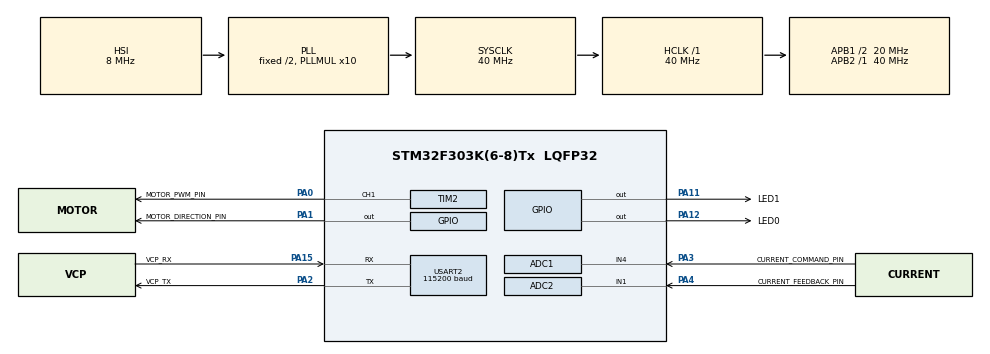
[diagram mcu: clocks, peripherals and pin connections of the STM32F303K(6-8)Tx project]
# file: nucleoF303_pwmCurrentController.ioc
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ADC1.Channel-0\#ChannelRegularConversion=ADC_CHANNEL_4
ADC1.ClockPrescaler=ADC_CLOCK_ASYNC_DIV1
ADC1.ContinuousConvMode=ENABLE
ADC1.DMAContinuousRequests=ENABLE
ADC1.DataAlign=ADC_DATAALIGN_RIGHT
ADC1.DiscontinuousConvMode=DISABLE
ADC1.EOCSelection=ADC_EOC_SINGLE_CONV
ADC1.EnableAnalogWatchDog1=false
ADC1.EnableAnalogWatchDog2=false
ADC1.EnableAnalogWatchDog3=false
ADC1.EnableInjectedConversion=ENABLE
ADC1.EnableRegularConversion=ENABLE
ADC1.ExternalTrigConv=ADC_SOFTWARE_START
ADC1.ExternalTrigConvEdge=ADC_EXTERNALTRIGCONVEDGE_NONE
ADC1.InjNumberOfConversion=0
ADC1.LowPowerAutoWait=DISABLE
ADC1.NbrOfConversion=1
ADC1.NbrOfConversionFlag=1
ADC1.Offset-0\#ChannelRegularConversion=0
ADC1.OffsetNumber-0\#ChannelRegularConversion=ADC_OFFSET_NONE
ADC1.Overrun=ADC_OVR_DATA_OVERWRITTEN
ADC1.Rank-0\#ChannelRegularConversion=1
ADC1.Resolution=ADC_RESOLUTION_12B
ADC1.SamplingTime-0\#ChannelRegularConversion=ADC_SAMPLETIME_1CYCLE_5
ADC1.ScanConvMode=ADC_SCAN_DISABLE
ADC1.SubFamily=STM32F303x8
ADC1.master=1
ADC2.Channel-0\#ChannelRegularConversion=ADC_CHANNEL_1
ADC2.ContinuousConvMode=ENABLE
ADC2.DMAContinuousRequests=ENABLE
ADC2.NbrOfConversion=1
ADC2.NbrOfConversionFlag=1
ADC2.Offset-0\#ChannelRegularConversion=0
ADC2.OffsetNumber-0\#ChannelRegularConversion=ADC_OFFSET_NONE
ADC2.Rank-0\#ChannelRegularConversion=1
ADC2.SamplingTime-0\#ChannelRegularConversion=ADC_SAMPLETIME_1CYCLE_5
ADC2.SubFamily=STM32F303x8
Dma.ADC1.1.Direction=DMA_PERIPH_TO_MEMORY
Dma.ADC1.1.Instance=DMA1_Channel1
Dma.ADC1.1.MemDataAlignment=DMA_MDATAALIGN_HALFWORD
Dma.ADC1.1.MemInc=DMA_MINC_ENABLE
Dma.ADC1.1.Mode=DMA_NORMAL
Dma.ADC1.1.PeriphDataAlignment=DMA_PDATAALIGN_HALFWORD
Dma.ADC1.1.PeriphInc=DMA_PINC_DISABLE
Dma.ADC1.1.Priority=DMA_PRIORITY_LOW
Dma.ADC2.0.Direction=DMA_PERIPH_TO_MEMORY
Dma.ADC2.0.Instance=DMA1_Channel2
Dma.ADC2.0.MemDataAlignment=DMA_MDATAALIGN_HALFWORD
Dma.ADC2.0.MemInc=DMA_MINC_ENABLE
Dma.ADC2.0.Mode=DMA_NORMAL
Dma.ADC2.0.PeriphDataAlignment=DMA_PDATAALIGN_HALFWORD
Dma.ADC2.0.PeriphInc=DMA_PINC_DISABLE
Dma.ADC2.0.Priority=DMA_PRIORITY_VERY_HIGH
Dma.Request0=ADC2
Dma.Request1=ADC1
Dma.Request2=USART2_RX
Dma.USART2_RX.2.Direction=DMA_PERIPH_TO_MEMORY
Dma.USART2_RX.2.Instance=DMA1_Channel6
Dma.USART2_RX.2.MemDataAlignment=DMA_MDATAALIGN_BYTE
Dma.USART2_RX.2.MemInc=DMA_MINC_ENABLE
Dma.USART2_RX.2.Mode=DMA_NORMAL
Dma.USART2_RX.2.PeriphDataAlignment=DMA_PDATAALIGN_BYTE
Dma.USART2_RX.2.PeriphInc=DMA_PINC_DISABLE
Dma.USART2_RX.2.Priority=DMA_PRIORITY_LOW
Mcu.Family=STM32F3
Mcu.Name=STM32F303K(6-8)Tx
Mcu.Package=LQFP32
NVIC.DMA1_Channel1_IRQn=true\:0\:0\:false\:false\:true\:false
NVIC.DMA1_Channel2_IRQn=true\:0\:0\:false\:false\:true\:false
NVIC.DMA1_Channel6_IRQn=true\:0\:0\:false\:false\:true\:false
NVIC.PriorityGroup=NVIC_PRIORITYGROUP_4
NVIC.USART2_IRQn=true\:0\:0\:false\:false\:true\:true
PA0.GPIO_Label=MOTOR_PWM_PIN
PA0.GPIO_Speed=GPIO_SPEED_FREQ_HIGH
PA0.Signal=S_TIM2_CH1_ETR
PA1.GPIO_Label=MOTOR_DIRECTION_PIN
PA1.Signal=GPIO_Output
PA11.GPIO_Label=LED1
PA11.GPIO_PuPd=GPIO_PULLUP
PA11.GPIO_Speed=GPIO_SPEED_FREQ_MEDIUM
PA11.PinState=GPIO_PIN_SET
PA11.Signal=GPIO_Output
PA12.GPIO_Label=LED0
PA12.GPIO_PuPd=GPIO_PULLUP
PA12.GPIO_Speed=GPIO_SPEED_FREQ_MEDIUM
PA12.PinState=GPIO_PIN_SET
PA12.Signal=GPIO_Output
PA13.GPIO_Label=SWDIO
PA13.Mode=Serial_Wire
PA13.Signal=SYS_JTMS-SWDIO
PA14.GPIO_Label=SWCLK
PA14.Mode=Serial_Wire
PA14.Signal=SYS_JTCK-SWCLK
PA15.GPIO_Label=VCP_RX
PA15.Mode=Asynchronous
PA15.Signal=USART2_RX
PA2.GPIO_Label=VCP_TX
PA2.Mode=Asynchronous
PA2.Signal=USART2_TX
PA3.GPIO_Label=CURRENT_COMMAND_PIN
PA3.Mode=IN4-Single-Ended
PA3.Signal=ADC1_IN4
PA4.GPIO_Label=CURRENT_FEEDBACK_PIN
PA4.Mode=IN1-Single-Ended
PA4.Signal=ADC2_IN1
PF0\ /\ OSC_IN.GPIO_Label=MCO
PF0\ /\ OSC_IN.Mode=HSE-External-Clock-Source
PF0\ /\ OSC_IN.Signal=RCC_OSC_IN
ProjectManager.HeapSize=0x200
ProjectManager.StackSize=0x400
ProjectManager.TargetToolchain=TrueSTUDIO
RCC.AHBFreq_Value=40000000
RCC.APB1CLKDivider=RCC_HCLK_DIV2
RCC.APB1Freq_Value=20000000
RCC.APB1TimFreq_Value=40000000
RCC.APB2Freq_Value=40000000
RCC.APB2TimFreq_Value=40000000
RCC.CortexFreq_Value=40000000
RCC.HCLKFreq_Value=40000000
RCC.HSE_VALUE=8000000
RCC.HSI_VALUE=8000000
RCC.I2c1ClockSelection=RCC_I2C1CLKSOURCE_SYSCLK
RCC.PLLMUL=RCC_PLL_MUL10
RCC.SYSCLKFreq_VALUE=40000000
RCC.SYSCLKSourceVirtual=RCC_SYSCLKSOURCE_PLLCLK
SH.S_TIM2_CH1_ETR.0=TIM2_CH1,PWM Generation1 CH1
TIM2.Channel-PWM\ Generation1\ CH1=TIM_CHANNEL_1
TIM2.Period=1000
TIM2.Prescaler=4
USART2.BaudRate=115200
USART2.Mode=MODE_TX_RX
USART2.VirtualMode-Asynchronous=VM_ASYNC
board=NUCLEO-F303K8

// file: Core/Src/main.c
/**
  ******************************************************************************
  * @file           : main.c
  * @brief          : Main program body
  ******************************************************************************
  ** This notice applies to any and all portions of this file
  * that are not between comment pairs USER CODE BEGIN and
  * USER CODE END. Other portions of this file, whether
  * inserted by the user or by software development tools
  * are owned by their respective copyright owners.
  *
  * COPYRIGHT(c) 2019 STMicroelectronics
  *
  * Redistribution and use in source and binary forms, with or without modification,
  * are permitted provided that the following conditions are met:
  *   1. Redistributions of source code must retain the above copyright notice,
  *      this list of conditions and the following disclaimer.
  *   2. Redistributions in binary form must reproduce the above copyright notice,
  *      this list of conditions and the following disclaimer in the documentation
  *      and/or other materials provided with the distribution.
  *   3. Neither the name of STMicroelectronics nor the names of its contributors
  *      may be used to endorse or promote products derived from this software
  *      without specific prior written permission.
  *
  * THIS SOFTWARE IS PROVIDED BY THE COPYRIGHT HOLDERS AND CONTRIBUTORS "AS IS"
  * AND ANY EXPRESS OR IMPLIED WARRANTIES, INCLUDING, BUT NOT LIMITED TO, THE
  * IMPLIED WARRANTIES OF MERCHANTABILITY AND FITNESS FOR A PARTICULAR PURPOSE ARE
  * DISCLAIMED. IN NO EVENT SHALL THE COPYRIGHT HOLDER OR CONTRIBUTORS BE LIABLE
  * FOR ANY DIRECT, INDIRECT, INCIDENTAL, SPECIAL, EXEMPLARY, OR CONSEQUENTIAL
  * DAMAGES (INCLUDING, BUT NOT LIMITED TO, PROCUREMENT OF SUBSTITUTE GOODS OR
  * SERVICES; LOSS OF USE, DATA, OR PROFITS; OR BUSINESS INTERRUPTION) HOWEVER
  * CAUSED AND ON ANY THEORY OF LIABILITY, WHETHER IN CONTRACT, STRICT LIABILITY,
  * OR TORT (INCLUDING NEGLIGENCE OR OTHERWISE) ARISING IN ANY WAY OUT OF THE USE
  * OF THIS SOFTWARE, EVEN IF ADVISED OF THE POSSIBILITY OF SUCH DAMAGE.
  *
  ******************************************************************************
  */
#include "main.h"
#include "stm32f3xx_hal.h"
#include "adc.h"
#include "dma.h"
#include "tim.h"
#include "usart.h"
#include "gpio.h"

/* USER CODE BEGIN Includes */
#include <stdio.h>
#include <stdarg.h>
#include <string.h>
/* USER CODE END Includes */

/* USER CODE BEGIN PV */
/* Private variables ---------------------------------------------------------*/

/* USER CODE END PV */

void SystemClock_Config(void);

/* USER CODE BEGIN PFP */
/* Private function prototypes -----------------------------------------------*/
void vprint(const char *fmt, va_list argp)
{
    char string[200];
    if(0 < vsprintf(string,fmt,argp)) // build string
    {
        HAL_UART_Transmit(&huart2, (uint8_t*)string, strlen(string), 0xffffff); // send message via UART
    }
}

void my_printf(const char *fmt, ...) // custom printf() function
{
    va_list argp;
    va_start(argp, fmt);
    vprint(fmt, argp);
    va_end(argp);
}

/* USER CODE END PFP */

int main(void)
{

  /* MCU Configuration----------------------------------------------------------*/

  /* Reset of all peripherals, Initializes the Flash interface and the Systick. */
  HAL_Init();

  /* USER CODE BEGIN Init */
  uint32_t previousCall = 0;
  int32_t error = 0;
  uint16_t adcCommand, adcFeedback;
  float proportional = 0, Kp = 1000/4095; // 1000 corresponds to 100% duty cycle, max error can be 4095
  /* USER CODE END Init */

  /* Configure the system clock */
  SystemClock_Config();

  /* Initialize all configured peripherals */
  MX_GPIO_Init();
  MX_DMA_Init();
  MX_USART2_UART_Init();
  MX_ADC2_Init();
  MX_TIM2_Init();
  MX_ADC1_Init();
  /* USER CODE BEGIN 2 */
  HAL_ADC_Start_DMA(&hadc1, (uint32_t*)&adcCommand, 2);
  HAL_ADC_Start_DMA(&hadc2, (uint32_t*)&adcFeedback, 2);

  TIM_OC_InitTypeDef timConf = {};
  timConf.OCMode = TIM_OCMODE_PWM1;
  timConf.OCPolarity = TIM_OCPOLARITY_HIGH;
  timConf.OCFastMode = TIM_OCFAST_DISABLE;
  previousCall = HAL_GetTick();
  /* USER CODE END 2 */

  /* Infinite loop */
  /* USER CODE BEGIN WHILE */
  while (1)
  {
	  HAL_GPIO_WritePin(MOTOR_DIRECTION_PIN_GPIO_Port, MOTOR_DIRECTION_PIN_Pin, adcCommand < (4096/2));

	  error = adcCommand - adcFeedback; // Max 4095 --> %100 duty cycle
	  proportional = Kp * (float)error;
	  if(HAL_GetTick() - previousCall >= 2000)
		  my_printf("adc1: %d, adc2: %d, p: %f\n", adcCommand, adcFeedback, proportional);

	  timConf.Pulse = (uint32_t)((proportional<0)?-1*proportional:proportional);
	  HAL_TIM_PWM_ConfigChannel(&htim2, &timConf, TIM_CHANNEL_1);
	  HAL_TIM_PWM_Start(&htim2, TIM_CHANNEL_1);
  /* USER CODE END WHILE */

  }

}

void SystemClock_Config(void)
{

  RCC_OscInitTypeDef RCC_OscInitStruct;
  RCC_ClkInitTypeDef RCC_ClkInitStruct;
  RCC_PeriphCLKInitTypeDef PeriphClkInit;

    /**Initializes the CPU, AHB and APB busses clocks
    */
  RCC_OscInitStruct.OscillatorType = RCC_OSCILLATORTYPE_HSI;
  RCC_OscInitStruct.HSIState = RCC_HSI_ON;
  RCC_OscInitStruct.HSICalibrationValue = 16;
  RCC_OscInitStruct.PLL.PLLState = RCC_PLL_ON;
  RCC_OscInitStruct.PLL.PLLSource = RCC_PLLSOURCE_HSI;
  RCC_OscInitStruct.PLL.PLLMUL = RCC_PLL_MUL10;
  if (HAL_RCC_OscConfig(&RCC_OscInitStruct) != HAL_OK)
  {
    _Error_Handler(__FILE__, __LINE__);
  }

    /**Initializes the CPU, AHB and APB busses clocks
    */
  RCC_ClkInitStruct.ClockType = RCC_CLOCKTYPE_HCLK|RCC_CLOCKTYPE_SYSCLK
                              |RCC_CLOCKTYPE_PCLK1|RCC_CLOCKTYPE_PCLK2;
  RCC_ClkInitStruct.SYSCLKSource = RCC_SYSCLKSOURCE_PLLCLK;
  RCC_ClkInitStruct.AHBCLKDivider = RCC_SYSCLK_DIV1;
  RCC_ClkInitStruct.APB1CLKDivider = RCC_HCLK_DIV2;
  RCC_ClkInitStruct.APB2CLKDivider = RCC_HCLK_DIV1;

  if (HAL_RCC_ClockConfig(&RCC_ClkInitStruct, FLASH_LATENCY_1) != HAL_OK)
  {
    _Error_Handler(__FILE__, __LINE__);
  }

  PeriphClkInit.PeriphClockSelection = RCC_PERIPHCLK_ADC12;
  PeriphClkInit.Adc12ClockSelection = RCC_ADC12PLLCLK_DIV1;
  if (HAL_RCCEx_PeriphCLKConfig(&PeriphClkInit) != HAL_OK)
  {
    _Error_Handler(__FILE__, __LINE__);
  }

    /**Configure the Systick interrupt time
    */
  HAL_SYSTICK_Config(HAL_RCC_GetHCLKFreq()/1000);

    /**Configure the Systick
    */
  HAL_SYSTICK_CLKSourceConfig(SYSTICK_CLKSOURCE_HCLK);

  /* SysTick_IRQn interrupt configuration */
  HAL_NVIC_SetPriority(SysTick_IRQn, 0, 0);
}

void _Error_Handler(char *file, int line)
{
  while(1)
  {
  }
}

/************************ (C) COPYRIGHT STMicroelectronics *****END OF FILE****/
